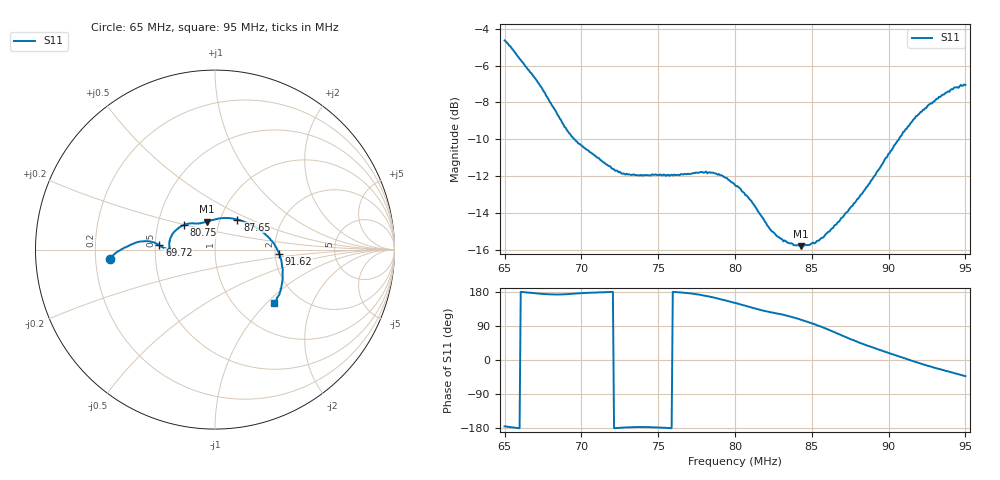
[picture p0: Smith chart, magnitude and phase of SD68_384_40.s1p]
! NanoVNA-App
! Date: 2025-08-02 15:45:54
! Start: 65MHz Stop: 95MHz Points: 401
! S-Parameter data: F S11
# Hz S RI R 50
!  Frequency  S11_Real  S11_Imag
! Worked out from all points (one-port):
!   401 points, 65 MHz to 95 MHz, reference 50 ohm
!   lowest |S11| = -15.8 dB at 84.28 MHz (marker M1), VSWR 1.39, Z = 43.6 + j13.9 ohm
!   |S11| at or under -10 dB: 69.55 MHz to 90.67 MHz (21.12 MHz wide, 26.4 % of centre)
!   S11 on the Smith chart (normalised r, x): 65 MHz: 0.26, -0.04; 69.72 MHz: 0.53, +0.03; 80.75 MHz: 0.68, +0.20; 87.65 MHz: 1.21, +0.42; 91.62 MHz: 2.11, -0.11; 95 MHz: 1.48, -1.11
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6.5e7  -0.5845 -0.0506
6.59e7  -0.5287 -0.00283
6.7325e7  -0.4393 0.039
6.875e7  -0.3482 0.0421
6.9725e7  -0.3102 0.0236
7.25e7  -0.2579 -0.00586
7.43e7  -0.2524 -0.0116
7.625e7  -0.2529 0.00425
7.73e7  -0.2549 0.0246
7.8425e7  -0.2493 0.0607
8e7  -0.2066 0.1171
8.075e7  -0.1754 0.1369
8.24e7  -0.1025 0.1452
8.375e7  -0.0642 0.1514
8.4275e7  -0.0458 0.1554
8.5625e7  0.00682 0.1704
8.66e7  0.0594 0.1758
8.75e7  0.1172 0.1691
8.765e7  0.1252 0.1666
8.885e7  0.2004 0.1392
8.9675e7  0.2526 0.1073
9.0425e7  0.2985 0.0673
9.125e7  0.3421 0.011
9.1625e7  0.3577 -0.0227
9.2525e7  0.3763 -0.0999
9.3425e7  0.3753 -0.176
9.4175e7  0.3605 -0.2379
9.5e7  0.3274 -0.3001
